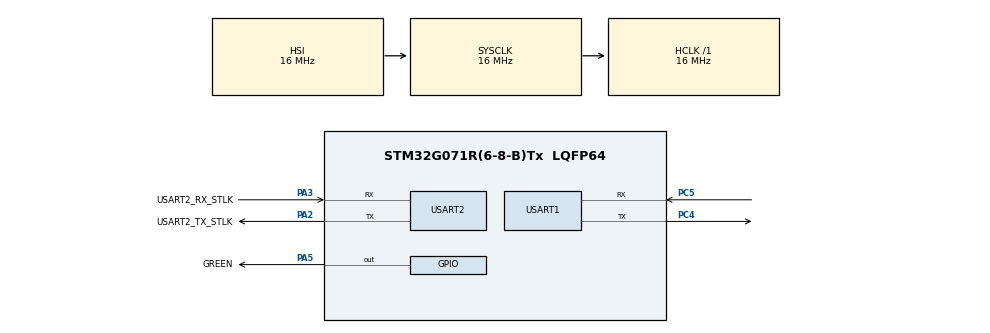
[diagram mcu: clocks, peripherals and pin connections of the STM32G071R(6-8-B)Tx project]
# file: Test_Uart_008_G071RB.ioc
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Mcu.Family=STM32G0
Mcu.Name=STM32G071R(6-8-B)Tx
Mcu.Package=LQFP64
NVIC.RTC_TAMP_IRQn=true\:0\:0\:false\:false\:true\:true\:true\:true
NVIC.TIM14_IRQn=true\:0\:0\:false\:false\:true\:true\:true\:true
NVIC.TIM16_IRQn=true\:0\:0\:false\:false\:true\:true\:true\:true
PA13.GPIO_Label=TMS
PA13.Mode=Serial_Wire
PA13.Signal=SYS_SWDIO
PA14-BOOT0.GPIO_Label=TCK
PA14-BOOT0.Mode=Serial_Wire
PA14-BOOT0.Signal=SYS_SWCLK
PA2.GPIO_Label=USART2_TX_STLK
PA2.GPIO_PuPd=GPIO_PULLUP
PA2.Mode=Asynchronous
PA2.Signal=USART2_TX
PA3.GPIO_Label=USART2_RX_STLK
PA3.GPIO_PuPd=GPIO_PULLUP
PA3.Mode=Asynchronous
PA3.Signal=USART2_RX
PA5.GPIO_Label=GREEN
PA5.GPIO_Speed=GPIO_SPEED_FREQ_HIGH
PA5.Signal=GPIO_Output
PC14-OSC32_IN\ (PC14).Mode=LSE-External-Oscillator
PC14-OSC32_IN\ (PC14).Signal=RCC_OSC32_IN
PC15-OSC32_OUT\ (PC15).Mode=LSE-External-Oscillator
PC15-OSC32_OUT\ (PC15).Signal=RCC_OSC32_OUT
PC4.Mode=Asynchronous
PC4.Signal=USART1_TX
PC5.Mode=Asynchronous
PC5.Signal=USART1_RX
PF0-OSC_IN\ (PF0).GPIO_Label=MCO
PF0-OSC_IN\ (PF0).Mode=HSE-External-Clock-Source
PF0-OSC_IN\ (PF0).Signal=RCC_OSC_IN
ProjectManager.HeapSize=0x200
ProjectManager.StackSize=0x400
ProjectManager.TargetToolchain=STM32CubeIDE
RCC.AHBFreq_Value=16000000
RCC.CortexFreq_Value=16000000
RCC.EXTERNAL_CLOCK_VALUE=12288000
RCC.HCLKFreq_Value=16000000
RCC.HSE_VALUE=8000000
RCC.HSI_VALUE=16000000
RCC.SYSCLKFreq_VALUE=16000000
RCC.VCOOutputFreq_Value=128000000
RTC.WakeUpClock-WakeUp=RTC_WAKEUPCLOCK_CK_SPRE_16BITS
RTC.WakeUpCounter-WakeUp=30
TIM14.AutoReloadPreload=TIM_AUTORELOAD_PRELOAD_ENABLE
TIM14.Period=1000-1
TIM14.Prescaler=16000-1
TIM16.Period=10000-1
TIM16.Prescaler=16000-1
USART1.VirtualMode-Asynchronous=VM_ASYNC
USART2.VirtualMode-Asynchronous=VM_ASYNC
VP_RTC_VS_RTC_Activate.Mode=RTC_Enabled
VP_RTC_VS_RTC_WakeUp_intern.Mode=WakeUp
VP_TIM14_VS_ClockSourceINT.Mode=Enable_Timer
VP_TIM16_VS_ClockSourceINT.Mode=Enable_Timer
board=NUCLEO-G071RB

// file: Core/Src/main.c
/* USER CODE BEGIN Header */
/**
  ******************************************************************************
  * @file           : main.c
  * @brief          : Main program body
  ******************************************************************************
  * @attention
  *
  * Copyright (c) 2022 STMicroelectronics.
  * All rights reserved.
  *
  * This software is licensed under terms that can be found in the LICENSE file
  * in the root directory of this software component.
  * If no LICENSE file comes with this software, it is provided AS-IS.
  *
  ******************************************************************************
  */
/* USER CODE END Header */
#include "main.h"

/* USER CODE BEGIN Includes */
#include <stdlib.h>
#include <stdio.h>
#include <string.h>
/* USER CODE END Includes */

/* USER CODE BEGIN PD */
#define UART_TX_TIMEOUT				100
#define UART_RX_TIMEOUT				300
#define UART_RX_XL_TIMEOUT			5000
#define RX_BUFF_SIZE				50
#define TX_BUFF_SIZE				60
#define PW_BUFF_SIZE				5
#define GN_BUFF_SIZE				35
#define TD_PAYLOAD_BUFF_SIZE		90
/* USER CODE END PD */

RTC_HandleTypeDef hrtc;

TIM_HandleTypeDef htim14; // 1  second  timer
TIM_HandleTypeDef htim16; // 10 seconds timer

UART_HandleTypeDef huart1;
UART_HandleTypeDef huart2;

/* USER CODE BEGIN PV */
uint8_t				checklist				= 0 ;
uint8_t				tim14_on				= 0 ;
uint8_t				tim16_on	 			= 0 ;

HAL_StatusTypeDef   uart_status ;
uint8_t             rx_buff[RX_BUFF_SIZE] ;
uint8_t             tx_buff[TX_BUFF_SIZE] ;
char				pw_buff[PW_BUFF_SIZE] ;
char				gn_buff[GN_BUFF_SIZE] ;
char 				td_at_comm[TD_PAYLOAD_BUFF_SIZE] ;
char* 				chunk ;
uint16_t			rx_len =  RX_BUFF_SIZE ;// stosowane tylko HAL_UARTEx_ReceiveToIdle()

char                hello[]         		= "Hello! Test_Swarm_001_G071RB\n" ;

// SWARM AT Commands
const char*			gn_mostrecent_at_comm	= "$GN @*67\n" ;

// SWARM AT Answers
const char*         gn_mostrecent_answer	= "$GN 52.2782,20.8089,84,359,2*2b\n" ;
/* USER CODE END PV */

void SystemClock_Config(void);
static void MX_GPIO_Init(void);
static void MX_USART2_UART_Init(void);
static void MX_RTC_Init(void);
static void MX_TIM14_Init(void);
static void MX_TIM16_Init(void);
static void MX_USART1_UART_Init(void);
/* USER CODE BEGIN PFP */
void 		send2uart 				( UART_HandleTypeDef* , const char* , const char* ) ;
void		nulling_array 			( uint8_t* array , size_t size ) ;
void 		wait_for_tim14x			( uint8_t ) ;
void 		wait_for_tim16x			( uint8_t ) ;
/* USER CODE END PFP */

int main(void)
{

  /* MCU Configuration--------------------------------------------------------*/

  /* Reset of all peripherals, Initializes the Flash interface and the Systick. */
  HAL_Init();

  /* Configure the system clock */
  SystemClock_Config();

  /* Initialize all configured peripherals */
  MX_GPIO_Init();
  MX_USART2_UART_Init();
  MX_RTC_Init();
  MX_TIM14_Init();
  MX_TIM16_Init();
  MX_USART1_UART_Init();
  /* USER CODE BEGIN 2 */
  //__HAL_TIM_CLEAR_IT ( &htim14 , TIM_IT_UPDATE ) ; // żeby nie generować przerwania TIM6 od razu: https://stackoverflow.com/questions/71099885/why-hal-tim-periodelapsedcallback-gets-called-immediately-after-hal-tim-base-sta
  //__HAL_TIM_CLEAR_IT ( &htim16 , TIM_IT_UPDATE ) ; // żeby nie generować przerwania TIM6 od razu: https://stackoverflow.com/questions/71099885/why-hal-tim-periodelapsedcallback-gets-called-immediately-after-hal-tim-base-sta

  uart_status = HAL_UART_Transmit ( &huart2 , (const uint8_t *) hello , strlen ( hello ) , UART_TX_TIMEOUT ) ;

  /* USER CODE END 2 */

  /* Infinite loop */
  /* USER CODE BEGIN WHILE */
  while (1)
  {
	  /* I found couple of threads that deal with this situation and they suggested to implement HAL_UART_ErrorCallback() and clear the ORE.
	   * https://community.st.com/s/question/0D50X00009ZEOZ3SAP/nucleo-f767zi-system-freeze-upon-uart-ore-interrupt
	   */
	  //__HAL_UART_CLEAR_OREFLAG ( &huart2 ) ;
	  //__HAL_UART_CLEAR_IDLEFLAG ( &huart2 ) ;
	  send2uart ( &huart2 , gn_mostrecent_at_comm , gn_mostrecent_answer ) ;
	  //__HAL_UART_CLEAR_OREFLAG ( &huart2 ) ;
	  //__HAL_UART_CLEAR_IDLEFLAG ( &huart2 ) ;
	  wait_for_tim14x ( 2 ) ;
    /* USER CODE END WHILE */

  }
}

void SystemClock_Config(void)
{
  RCC_OscInitTypeDef RCC_OscInitStruct = {0};
  RCC_ClkInitTypeDef RCC_ClkInitStruct = {0};

  /** Configure the main internal regulator output voltage
  */
  HAL_PWREx_ControlVoltageScaling(PWR_REGULATOR_VOLTAGE_SCALE1);

  /** Initializes the RCC Oscillators according to the specified parameters
  * in the RCC_OscInitTypeDef structure.
  */
  RCC_OscInitStruct.OscillatorType = RCC_OSCILLATORTYPE_HSI|RCC_OSCILLATORTYPE_LSI;
  RCC_OscInitStruct.HSIState = RCC_HSI_ON;
  RCC_OscInitStruct.HSIDiv = RCC_HSI_DIV1;
  RCC_OscInitStruct.HSICalibrationValue = RCC_HSICALIBRATION_DEFAULT;
  RCC_OscInitStruct.LSIState = RCC_LSI_ON;
  RCC_OscInitStruct.PLL.PLLState = RCC_PLL_NONE;
  if (HAL_RCC_OscConfig(&RCC_OscInitStruct) != HAL_OK)
  {
    Error_Handler();
  }

  /** Initializes the CPU, AHB and APB buses clocks
  */
  RCC_ClkInitStruct.ClockType = RCC_CLOCKTYPE_HCLK|RCC_CLOCKTYPE_SYSCLK
                              |RCC_CLOCKTYPE_PCLK1;
  RCC_ClkInitStruct.SYSCLKSource = RCC_SYSCLKSOURCE_HSI;
  RCC_ClkInitStruct.AHBCLKDivider = RCC_SYSCLK_DIV1;
  RCC_ClkInitStruct.APB1CLKDivider = RCC_HCLK_DIV1;

  if (HAL_RCC_ClockConfig(&RCC_ClkInitStruct, FLASH_LATENCY_0) != HAL_OK)
  {
    Error_Handler();
  }
}

static void MX_RTC_Init(void)
{

  /** Initialize RTC Only
  */
  hrtc.Instance = RTC;
  hrtc.Init.HourFormat = RTC_HOURFORMAT_24;
  hrtc.Init.AsynchPrediv = 127;
  hrtc.Init.SynchPrediv = 255;
  hrtc.Init.OutPut = RTC_OUTPUT_DISABLE;
  hrtc.Init.OutPutRemap = RTC_OUTPUT_REMAP_NONE;
  hrtc.Init.OutPutPolarity = RTC_OUTPUT_POLARITY_HIGH;
  hrtc.Init.OutPutType = RTC_OUTPUT_TYPE_OPENDRAIN;
  hrtc.Init.OutPutPullUp = RTC_OUTPUT_PULLUP_NONE;
  if (HAL_RTC_Init(&hrtc) != HAL_OK)
  {
    Error_Handler();
  }

  /** Enable the WakeUp
  */
  if (HAL_RTCEx_SetWakeUpTimer_IT(&hrtc, 30, RTC_WAKEUPCLOCK_CK_SPRE_16BITS) != HAL_OK)
  {
    Error_Handler();
  }

}

static void MX_TIM14_Init(void)
{

  htim14.Instance = TIM14;
  htim14.Init.Prescaler = 16000-1;
  htim14.Init.CounterMode = TIM_COUNTERMODE_UP;
  htim14.Init.Period = 1000-1;
  htim14.Init.ClockDivision = TIM_CLOCKDIVISION_DIV1;
  htim14.Init.AutoReloadPreload = TIM_AUTORELOAD_PRELOAD_ENABLE;
  if (HAL_TIM_Base_Init(&htim14) != HAL_OK)
  {
    Error_Handler();
  }

}

static void MX_TIM16_Init(void)
{

  htim16.Instance = TIM16;
  htim16.Init.Prescaler = 16000-1;
  htim16.Init.CounterMode = TIM_COUNTERMODE_UP;
  htim16.Init.Period = 10000-1;
  htim16.Init.ClockDivision = TIM_CLOCKDIVISION_DIV1;
  htim16.Init.RepetitionCounter = 0;
  htim16.Init.AutoReloadPreload = TIM_AUTORELOAD_PRELOAD_DISABLE;
  if (HAL_TIM_Base_Init(&htim16) != HAL_OK)
  {
    Error_Handler();
  }

}

static void MX_USART1_UART_Init(void)
{

  huart1.Instance = USART1;
  huart1.Init.BaudRate = 115200;
  huart1.Init.WordLength = UART_WORDLENGTH_8B;
  huart1.Init.StopBits = UART_STOPBITS_1;
  huart1.Init.Parity = UART_PARITY_NONE;
  huart1.Init.Mode = UART_MODE_TX_RX;
  huart1.Init.HwFlowCtl = UART_HWCONTROL_NONE;
  huart1.Init.OverSampling = UART_OVERSAMPLING_16;
  huart1.Init.OneBitSampling = UART_ONE_BIT_SAMPLE_DISABLE;
  huart1.Init.ClockPrescaler = UART_PRESCALER_DIV1;
  huart1.AdvancedInit.AdvFeatureInit = UART_ADVFEATURE_NO_INIT;
  if (HAL_UART_Init(&huart1) != HAL_OK)
  {
    Error_Handler();
  }
  if (HAL_UARTEx_SetTxFifoThreshold(&huart1, UART_TXFIFO_THRESHOLD_1_8) != HAL_OK)
  {
    Error_Handler();
  }
  if (HAL_UARTEx_SetRxFifoThreshold(&huart1, UART_RXFIFO_THRESHOLD_1_8) != HAL_OK)
  {
    Error_Handler();
  }
  if (HAL_UARTEx_DisableFifoMode(&huart1) != HAL_OK)
  {
    Error_Handler();
  }

}

static void MX_USART2_UART_Init(void)
{

  huart2.Instance = USART2;
  huart2.Init.BaudRate = 115200;
  huart2.Init.WordLength = UART_WORDLENGTH_8B;
  huart2.Init.StopBits = UART_STOPBITS_1;
  huart2.Init.Parity = UART_PARITY_NONE;
  huart2.Init.Mode = UART_MODE_TX_RX;
  huart2.Init.HwFlowCtl = UART_HWCONTROL_NONE;
  huart2.Init.OverSampling = UART_OVERSAMPLING_16;
  huart2.Init.OneBitSampling = UART_ONE_BIT_SAMPLE_DISABLE;
  huart2.Init.ClockPrescaler = UART_PRESCALER_DIV1;
  huart2.AdvancedInit.AdvFeatureInit = UART_ADVFEATURE_NO_INIT;
  if (HAL_UART_Init(&huart2) != HAL_OK)
  {
    Error_Handler();
  }
  if (HAL_UARTEx_SetTxFifoThreshold(&huart2, UART_TXFIFO_THRESHOLD_1_8) != HAL_OK)
  {
    Error_Handler();
  }
  if (HAL_UARTEx_SetRxFifoThreshold(&huart2, UART_RXFIFO_THRESHOLD_1_8) != HAL_OK)
  {
    Error_Handler();
  }
  if (HAL_UARTEx_DisableFifoMode(&huart2) != HAL_OK)
  {
    Error_Handler();
  }

}

static void MX_GPIO_Init(void)
{
  GPIO_InitTypeDef GPIO_InitStruct = {0};

  /* GPIO Ports Clock Enable */
  __HAL_RCC_GPIOC_CLK_ENABLE();
  __HAL_RCC_GPIOF_CLK_ENABLE();
  __HAL_RCC_GPIOA_CLK_ENABLE();

  /*Configure GPIO pin Output Level */
  HAL_GPIO_WritePin(GREEN_GPIO_Port, GREEN_Pin, GPIO_PIN_RESET);

  /*Configure GPIO pin : GREEN_Pin */
  GPIO_InitStruct.Pin = GREEN_Pin;
  GPIO_InitStruct.Mode = GPIO_MODE_OUTPUT_PP;
  GPIO_InitStruct.Pull = GPIO_NOPULL;
  GPIO_InitStruct.Speed = GPIO_SPEED_FREQ_HIGH;
  HAL_GPIO_Init(GREEN_GPIO_Port, &GPIO_InitStruct);

}

/* USER CODE BEGIN 4 */

void send2uart ( UART_HandleTypeDef* huart , const char* at_command , const char* answer )
{
	/*
	1. sposób zastosować malloc
	2. upewnić się, że wszędzie gdzie trzeba mam \0 na końcu
	3. albo coś z tymi cast jest nie tak, które namiętnie stosuję
	*/

	uint8_t* uart_rx_buff = malloc ( 99 * sizeof (uint8_t) ) ;
	uint8_t* uart_tx_buff = malloc ( 99 * sizeof (uint8_t) ) ;

	sprintf ( (char*) uart_tx_buff , "%s" , at_command ) ;
	__HAL_UART_SEND_REQ ( huart , UART_RXDATA_FLUSH_REQUEST ) ; //https://community.st.com/s/question/0D53W00000oXKU2SAO/efficient-way-to-process-usartreceived-data-and-flush-rx-buffer-
	uart_status = HAL_UART_Transmit ( huart , (const uint8_t *) uart_tx_buff ,  strlen ( (char*) uart_tx_buff ) , UART_TX_TIMEOUT ) ;
	uart_status = HAL_UART_Receive ( huart , uart_rx_buff , /*sizeof ( uart_rx_buff )*/99 , UART_RX_TIMEOUT ) ;
	if ( strncmp ( (char*) uart_rx_buff , answer , strlen ( answer ) ) == 0 )
	{
		sprintf ( (char*) uart_tx_buff , "Yes. %s" , uart_rx_buff ) ;
		uart_status = HAL_UART_Transmit ( huart , (const uint8_t *) uart_tx_buff ,  strlen ( (char*) uart_rx_buff ) , UART_TX_TIMEOUT ) ;
	}
	else
	{
		//sprintf ( (char*) tx_buff , "No. %s" , rx_buff ) ;
		//uart_status = HAL_UART_Transmit ( huart , (const uint8_t *) tx_buff ,  strlen ( (char*) tx_buff ) , UART_TX_TIMEOUT ) ;
	}
	free ( uart_rx_buff ) ;
	free ( uart_tx_buff ) ;
	//nulling_array ( tx_buff , sizeof ( tx_buff ) ) ;
	//nulling_array ( rx_buff , sizeof ( rx_buff ) ) ;
}

void nulling_array ( uint8_t* array , size_t size )
{
	for ( uint8_t i = 0 ; i < size ; i++ ) { array[i] = 0 ; }
}

void wait_for_tim14x ( uint8_t x )
{
	uint8_t i ;
	for ( i = 0 ; i < x ; i++ )
	{
		tim14_on = 1 ;
		HAL_TIM_Base_Start_IT ( &htim14 ) ;
		while ( tim14_on )
			__NOP () ;
	}
}

void wait_for_tim16x ( uint8_t x )
{
	uint8_t i ;
	for ( i = 0 ; i < x ; i++ )
	{
		tim16_on = 1 ;
		HAL_TIM_Base_Start_IT ( &htim16 ) ;
		while ( tim16_on )
			__NOP () ;
	}
}

void HAL_TIM_PeriodElapsedCallback ( TIM_HandleTypeDef *htim )
{
	if ( htim->Instance == TIM14 )
	{
		tim14_on = 0 ;
		HAL_TIM_Base_Stop_IT ( &htim14 ) ;
	}
	if ( htim->Instance == TIM16 )
	{
		tim16_on = 0 ;
		HAL_TIM_Base_Stop_IT ( &htim16 ) ;
	}
}
/* USER CODE END 4 */

void Error_Handler(void)
{
  __disable_irq();
  while (1)
  {
  }
}
